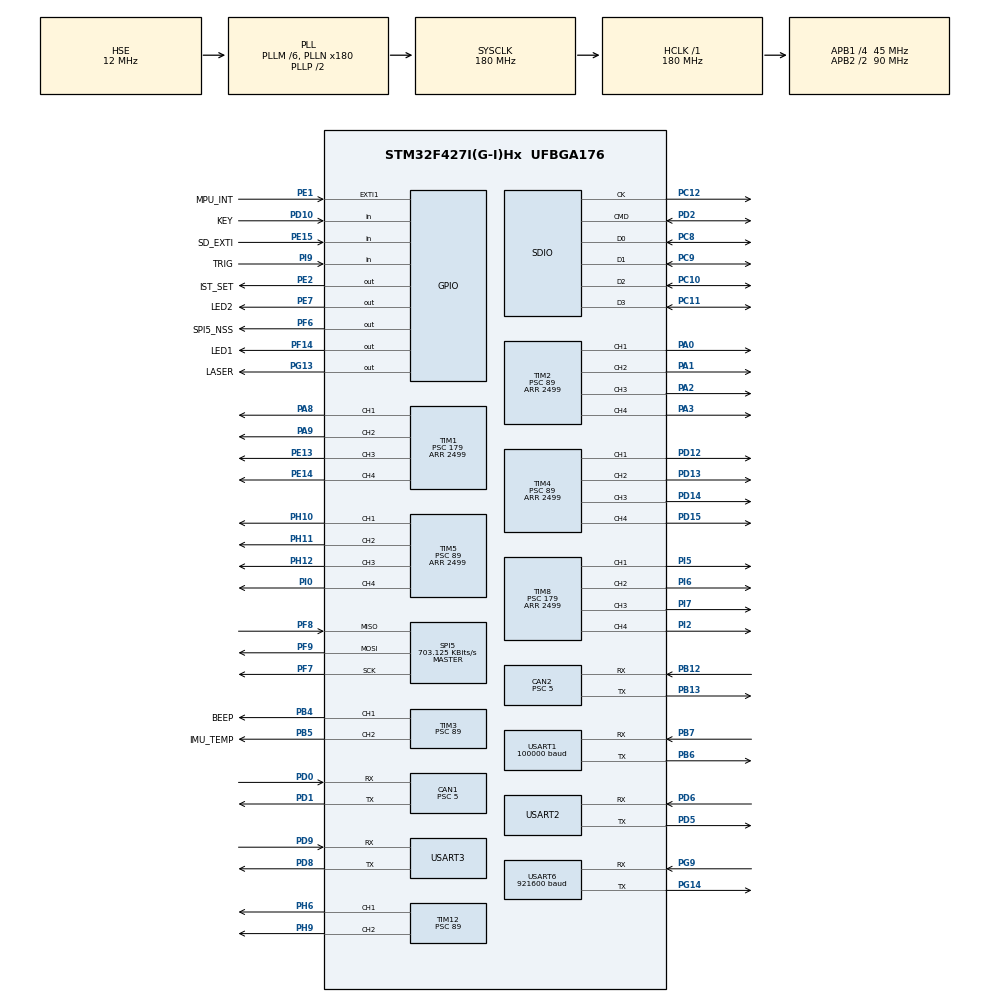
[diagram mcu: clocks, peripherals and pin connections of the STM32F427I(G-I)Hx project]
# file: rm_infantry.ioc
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CAN1.ABOM=ENABLE
CAN1.BS1=CAN_BS1_3TQ
CAN1.BS2=CAN_BS2_5TQ
CAN1.CalculateTimeBit=1000
CAN1.CalculateTimeQuantum=111.11111111111111
CAN1.Prescaler=5
CAN2.ABOM=ENABLE
CAN2.BS1=CAN_BS1_3TQ
CAN2.BS2=CAN_BS2_5TQ
CAN2.CalculateTimeBit=1000
CAN2.CalculateTimeQuantum=111.11111111111111
CAN2.Prescaler=5
CAN2.SJW=CAN_SJW_4TQ
Dma.Request0=SDIO_RX
Dma.Request1=SDIO_TX
Dma.Request2=USART1_RX
Dma.Request3=USART2_RX
Dma.Request4=USART3_RX
Dma.Request5=USART6_RX
Dma.Request6=USART2_TX
Dma.Request7=USART3_TX
Dma.Request8=USART6_TX
Dma.SDIO_RX.0.Direction=DMA_PERIPH_TO_MEMORY
Dma.SDIO_RX.0.FIFOMode=DMA_FIFOMODE_ENABLE
Dma.SDIO_RX.0.FIFOThreshold=DMA_FIFO_THRESHOLD_FULL
Dma.SDIO_RX.0.Instance=DMA2_Stream3
Dma.SDIO_RX.0.MemBurst=DMA_MBURST_INC4
Dma.SDIO_RX.0.MemDataAlignment=DMA_MDATAALIGN_WORD
Dma.SDIO_RX.0.MemInc=DMA_MINC_ENABLE
Dma.SDIO_RX.0.Mode=DMA_PFCTRL
Dma.SDIO_RX.0.PeriphBurst=DMA_PBURST_INC4
Dma.SDIO_RX.0.PeriphDataAlignment=DMA_PDATAALIGN_WORD
Dma.SDIO_RX.0.PeriphInc=DMA_PINC_DISABLE
Dma.SDIO_RX.0.Priority=DMA_PRIORITY_HIGH
Dma.SDIO_TX.1.Direction=DMA_MEMORY_TO_PERIPH
Dma.SDIO_TX.1.FIFOMode=DMA_FIFOMODE_ENABLE
Dma.SDIO_TX.1.FIFOThreshold=DMA_FIFO_THRESHOLD_FULL
Dma.SDIO_TX.1.Instance=DMA2_Stream6
Dma.SDIO_TX.1.MemBurst=DMA_MBURST_INC4
Dma.SDIO_TX.1.MemDataAlignment=DMA_MDATAALIGN_WORD
Dma.SDIO_TX.1.MemInc=DMA_MINC_ENABLE
Dma.SDIO_TX.1.Mode=DMA_PFCTRL
Dma.SDIO_TX.1.PeriphBurst=DMA_PBURST_INC4
Dma.SDIO_TX.1.PeriphDataAlignment=DMA_PDATAALIGN_WORD
Dma.SDIO_TX.1.PeriphInc=DMA_PINC_DISABLE
Dma.SDIO_TX.1.Priority=DMA_PRIORITY_HIGH
Dma.USART1_RX.2.Direction=DMA_PERIPH_TO_MEMORY
Dma.USART1_RX.2.FIFOMode=DMA_FIFOMODE_DISABLE
Dma.USART1_RX.2.Instance=DMA2_Stream2
Dma.USART1_RX.2.MemDataAlignment=DMA_MDATAALIGN_BYTE
Dma.USART1_RX.2.MemInc=DMA_MINC_ENABLE
Dma.USART1_RX.2.Mode=DMA_CIRCULAR
Dma.USART1_RX.2.PeriphDataAlignment=DMA_PDATAALIGN_BYTE
Dma.USART1_RX.2.PeriphInc=DMA_PINC_DISABLE
Dma.USART1_RX.2.Priority=DMA_PRIORITY_LOW
Dma.USART2_RX.3.Direction=DMA_PERIPH_TO_MEMORY
Dma.USART2_RX.3.FIFOMode=DMA_FIFOMODE_DISABLE
Dma.USART2_RX.3.Instance=DMA1_Stream5
Dma.USART2_RX.3.MemDataAlignment=DMA_MDATAALIGN_BYTE
Dma.USART2_RX.3.MemInc=DMA_MINC_ENABLE
Dma.USART2_RX.3.Mode=DMA_NORMAL
Dma.USART2_RX.3.PeriphDataAlignment=DMA_PDATAALIGN_BYTE
Dma.USART2_RX.3.PeriphInc=DMA_PINC_DISABLE
Dma.USART2_RX.3.Priority=DMA_PRIORITY_LOW
Dma.USART2_TX.6.Direction=DMA_MEMORY_TO_PERIPH
Dma.USART2_TX.6.FIFOMode=DMA_FIFOMODE_DISABLE
Dma.USART2_TX.6.Instance=DMA1_Stream6
Dma.USART2_TX.6.MemDataAlignment=DMA_MDATAALIGN_BYTE
Dma.USART2_TX.6.MemInc=DMA_MINC_ENABLE
Dma.USART2_TX.6.Mode=DMA_NORMAL
Dma.USART2_TX.6.PeriphDataAlignment=DMA_PDATAALIGN_BYTE
Dma.USART2_TX.6.PeriphInc=DMA_PINC_DISABLE
Dma.USART2_TX.6.Priority=DMA_PRIORITY_LOW
Dma.USART3_RX.4.Direction=DMA_PERIPH_TO_MEMORY
Dma.USART3_RX.4.FIFOMode=DMA_FIFOMODE_DISABLE
Dma.USART3_RX.4.Instance=DMA1_Stream1
Dma.USART3_RX.4.MemDataAlignment=DMA_MDATAALIGN_BYTE
Dma.USART3_RX.4.MemInc=DMA_MINC_ENABLE
Dma.USART3_RX.4.Mode=DMA_NORMAL
Dma.USART3_RX.4.PeriphDataAlignment=DMA_PDATAALIGN_BYTE
Dma.USART3_RX.4.PeriphInc=DMA_PINC_DISABLE
Dma.USART3_RX.4.Priority=DMA_PRIORITY_LOW
Dma.USART3_TX.7.Direction=DMA_MEMORY_TO_PERIPH
Dma.USART3_TX.7.FIFOMode=DMA_FIFOMODE_DISABLE
Dma.USART3_TX.7.Instance=DMA1_Stream3
Dma.USART3_TX.7.MemDataAlignment=DMA_MDATAALIGN_BYTE
Dma.USART3_TX.7.MemInc=DMA_MINC_ENABLE
Dma.USART3_TX.7.Mode=DMA_NORMAL
Dma.USART3_TX.7.PeriphDataAlignment=DMA_PDATAALIGN_BYTE
Dma.USART3_TX.7.PeriphInc=DMA_PINC_DISABLE
Dma.USART3_TX.7.Priority=DMA_PRIORITY_LOW
Dma.USART6_RX.5.Direction=DMA_PERIPH_TO_MEMORY
Dma.USART6_RX.5.FIFOMode=DMA_FIFOMODE_DISABLE
Dma.USART6_RX.5.Instance=DMA2_Stream1
Dma.USART6_RX.5.MemDataAlignment=DMA_MDATAALIGN_BYTE
Dma.USART6_RX.5.MemInc=DMA_MINC_ENABLE
Dma.USART6_RX.5.Mode=DMA_NORMAL
Dma.USART6_RX.5.PeriphDataAlignment=DMA_PDATAALIGN_BYTE
Dma.USART6_RX.5.PeriphInc=DMA_PINC_DISABLE
Dma.USART6_RX.5.Priority=DMA_PRIORITY_LOW
Dma.USART6_TX.8.Direction=DMA_MEMORY_TO_PERIPH
Dma.USART6_TX.8.FIFOMode=DMA_FIFOMODE_DISABLE
Dma.USART6_TX.8.Instance=DMA2_Stream7
Dma.USART6_TX.8.MemDataAlignment=DMA_MDATAALIGN_BYTE
Dma.USART6_TX.8.MemInc=DMA_MINC_ENABLE
Dma.USART6_TX.8.Mode=DMA_NORMAL
Dma.USART6_TX.8.PeriphDataAlignment=DMA_PDATAALIGN_BYTE
Dma.USART6_TX.8.PeriphInc=DMA_PINC_DISABLE
Dma.USART6_TX.8.Priority=DMA_PRIORITY_LOW
FATFS._CODE_PAGE=936
FATFS._USE_LFN=2
FREERTOS.INCLUDE_uxTaskGetStackHighWaterMark=1
FREERTOS.INCLUDE_vTaskDelayUntil=1
FREERTOS.Tasks01=defaultTask,0,128,StartDefaultTask,Default,NULL
FREERTOS.configCHECK_FOR_STACK_OVERFLOW=1
FREERTOS.configTIMER_TASK_STACK_DEPTH=128
FREERTOS.configUSE_TIMERS=1
FREERTOS.configUSE_TRACE_FACILITY=1
Mcu.Family=STM32F4
Mcu.Name=STM32F427I(G-I)Hx
Mcu.Package=UFBGA176
NVIC.CAN1_RX0_IRQn=true\:5\:0\:false\:false\:true\:true\:true
NVIC.CAN1_TX_IRQn=true\:5\:0\:false\:false\:true\:true\:true
NVIC.CAN2_RX0_IRQn=true\:6\:0\:true\:false\:true\:true\:true
NVIC.CAN2_TX_IRQn=true\:6\:0\:true\:false\:true\:true\:true
NVIC.DMA1_Stream1_IRQn=true\:5\:0\:false\:false\:true\:true\:false
NVIC.DMA1_Stream3_IRQn=true\:5\:0\:false\:false\:true\:true\:false
NVIC.DMA1_Stream5_IRQn=true\:5\:0\:false\:false\:true\:true\:false
NVIC.DMA1_Stream6_IRQn=true\:5\:0\:false\:false\:true\:true\:false
NVIC.DMA2_Stream1_IRQn=true\:5\:0\:false\:false\:true\:true\:false
NVIC.DMA2_Stream2_IRQn=true\:5\:0\:false\:false\:true\:true\:false
NVIC.DMA2_Stream3_IRQn=true\:6\:0\:true\:false\:true\:true\:false
NVIC.DMA2_Stream6_IRQn=true\:6\:0\:true\:false\:true\:true\:false
NVIC.DMA2_Stream7_IRQn=true\:5\:0\:false\:false\:true\:true\:false
NVIC.PriorityGroup=NVIC_PRIORITYGROUP_4
NVIC.SDIO_IRQn=true\:5\:0\:false\:false\:true\:true\:true
NVIC.TIM6_DAC_IRQn=true\:0\:0\:false\:false\:true\:false\:false
NVIC.TimeBase=TIM6_DAC_IRQn
NVIC.TimeBaseIP=TIM6
NVIC.USART1_IRQn=true\:5\:0\:false\:false\:true\:true\:true
NVIC.USART2_IRQn=true\:5\:0\:true\:false\:true\:true\:true
NVIC.USART3_IRQn=true\:5\:0\:false\:false\:true\:true\:true
NVIC.USART6_IRQn=true\:5\:0\:false\:false\:true\:true\:true
PA0/WKUP.Signal=S_TIM2_CH1_ETR
PA1.Signal=S_TIM2_CH2
PA13.Mode=Serial_Wire
PA13.Signal=SYS_JTMS-SWDIO
PA14.Mode=Serial_Wire
PA14.Signal=SYS_JTCK-SWCLK
PA2.Signal=S_TIM2_CH3
PA3.Signal=S_TIM2_CH4
PA8.Signal=S_TIM1_CH1
PA9.Signal=S_TIM1_CH2
PB12.Mode=Slave
PB12.Signal=CAN2_RX
PB13.Mode=Slave
PB13.Signal=CAN2_TX
PB4.GPIO_Label=BEEP
PB4.Signal=S_TIM3_CH1
PB5.GPIO_Label=IMU_TEMP
PB5.Signal=S_TIM3_CH2
PB6.Mode=Asynchronous
PB6.Signal=USART1_TX
PB7.Mode=Asynchronous
PB7.Signal=USART1_RX
PC10.Mode=SD_4_bits_Wide_bus
PC10.Signal=SDIO_D2
PC11.Mode=SD_4_bits_Wide_bus
PC11.Signal=SDIO_D3
PC12.Mode=SD_4_bits_Wide_bus
PC12.Signal=SDIO_CK
PC8.Mode=SD_4_bits_Wide_bus
PC8.Signal=SDIO_D0
PC9.Mode=SD_4_bits_Wide_bus
PC9.Signal=SDIO_D1
PD0.Mode=Master
PD0.Signal=CAN1_RX
PD1.Mode=Master
PD1.Signal=CAN1_TX
PD10.GPIO_Label=KEY
PD10.Signal=GPIO_Input
PD12.Signal=S_TIM4_CH1
PD13.Signal=S_TIM4_CH2
PD14.Signal=S_TIM4_CH3
PD15.Signal=S_TIM4_CH4
PD2.Mode=SD_4_bits_Wide_bus
PD2.Signal=SDIO_CMD
PD5.Mode=Asynchronous
PD5.Signal=USART2_TX
PD6.Mode=Asynchronous
PD6.Signal=USART2_RX
PD8.Mode=Asynchronous
PD8.Signal=USART3_TX
PD9.Mode=Asynchronous
PD9.Signal=USART3_RX
PE1.GPIO_Label=MPU_INT
PE1.Signal=GPXTI1
PE13.Signal=S_TIM1_CH3
PE14.Signal=S_TIM1_CH4
PE15.GPIO_Label=SD_EXTI
PE15.Signal=GPIO_Input
PE2.GPIO_Label=IST_SET
PE2.Signal=GPIO_Output
PE7.GPIO_Label=LED2
PE7.Signal=GPIO_Output
PF14.GPIO_Label=LED1
PF14.Signal=GPIO_Output
PF6.GPIO_Label=SPI5_NSS
PF6.Signal=GPIO_Output
PF7.Mode=Full_Duplex_Master
PF7.Signal=SPI5_SCK
PF8.Mode=Full_Duplex_Master
PF8.Signal=SPI5_MISO
PF9.Mode=Full_Duplex_Master
PF9.Signal=SPI5_MOSI
PG13.GPIO_Label=LASER
PG13.Signal=GPIO_Output
PG14.Mode=Asynchronous
PG14.Signal=USART6_TX
PG9.Mode=Asynchronous
PG9.Signal=USART6_RX
PH0/OSC_IN.Mode=HSE-External-Oscillator
PH0/OSC_IN.Signal=RCC_OSC_IN
PH1/OSC_OUT.Mode=HSE-External-Oscillator
PH1/OSC_OUT.Signal=RCC_OSC_OUT
PH10.Signal=S_TIM5_CH1
PH11.Signal=S_TIM5_CH2
PH12.Signal=S_TIM5_CH3
PH6.Signal=S_TIM12_CH1
PH9.Signal=S_TIM12_CH2
PI0.Signal=S_TIM5_CH4
PI2.Signal=S_TIM8_CH4
PI5.Signal=S_TIM8_CH1
PI6.Signal=S_TIM8_CH2
PI7.Signal=S_TIM8_CH3
PI9.GPIO_Label=TRIG
PI9.GPIO_PuPd=GPIO_PULLUP
PI9.Signal=GPIO_Input
ProjectManager.HeapSize=0x500
ProjectManager.StackSize=0x1000
ProjectManager.TargetToolchain=MDK-ARM V5
RCC.48MHZClocksFreq_Value=45000000
RCC.AHBFreq_Value=180000000
RCC.APB1CLKDivider=RCC_HCLK_DIV4
RCC.APB1Freq_Value=45000000
RCC.APB1TimFreq_Value=90000000
RCC.APB2CLKDivider=RCC_HCLK_DIV2
RCC.APB2Freq_Value=90000000
RCC.APB2TimFreq_Value=180000000
RCC.CortexFreq_Value=180000000
RCC.HCLKFreq_Value=180000000
RCC.HSE_VALUE=12000000
RCC.HSI_VALUE=16000000
RCC.LSE_VALUE=32768
RCC.PLLM=6
RCC.PLLN=180
RCC.PLLQ=8
RCC.PLLSourceVirtual=RCC_PLLSOURCE_HSE
RCC.SYSCLKFreq_VALUE=180000000
RCC.SYSCLKSource=RCC_SYSCLKSOURCE_PLLCLK
RCC.VCOOutputFreq_Value=360000000
RTC.AsynchPrediv=124
RTC.Date=18
RTC.Format=RTC_FORMAT_BIN
RTC.Hours=10
RTC.Minutes=30
RTC.Month=RTC_MONTH_OCTOBER
RTC.WeekDay=RTC_WEEKDAY_WEDNESDAY
RTC.Year=17
SH.S_TIM12_CH1.0=TIM12_CH1,PWM Generation1 CH1
SH.S_TIM12_CH2.0=TIM12_CH2,PWM Generation2 CH2
SH.S_TIM1_CH1.0=TIM1_CH1,PWM Generation1 CH1
SH.S_TIM1_CH2.0=TIM1_CH2,PWM Generation2 CH2
SH.S_TIM1_CH3.0=TIM1_CH3,PWM Generation3 CH3
SH.S_TIM1_CH4.0=TIM1_CH4,PWM Generation4 CH4
SH.S_TIM2_CH1_ETR.0=TIM2_CH1,PWM Generation1 CH1
SH.S_TIM2_CH2.0=TIM2_CH2,PWM Generation2 CH2
SH.S_TIM2_CH3.0=TIM2_CH3,PWM Generation3 CH3
SH.S_TIM2_CH4.0=TIM2_CH4,PWM Generation4 CH4
SH.S_TIM3_CH1.0=TIM3_CH1,PWM Generation1 CH1
SH.S_TIM3_CH2.0=TIM3_CH2,PWM Generation2 CH2
SH.S_TIM4_CH1.0=TIM4_CH1,PWM Generation1 CH1
SH.S_TIM4_CH2.0=TIM4_CH2,PWM Generation2 CH2
SH.S_TIM4_CH3.0=TIM4_CH3,PWM Generation3 CH3
SH.S_TIM4_CH4.0=TIM4_CH4,PWM Generation4 CH4
SH.S_TIM5_CH1.0=TIM5_CH1,PWM Generation1 CH1
SH.S_TIM5_CH2.0=TIM5_CH2,PWM Generation2 CH2
SH.S_TIM5_CH3.0=TIM5_CH3,PWM Generation3 CH3
SH.S_TIM5_CH4.0=TIM5_CH4,PWM Generation4 CH4
SH.S_TIM8_CH1.0=TIM8_CH1,PWM Generation1 CH1
SH.S_TIM8_CH2.0=TIM8_CH2,PWM Generation2 CH2
SH.S_TIM8_CH3.0=TIM8_CH3,PWM Generation3 CH3
SH.S_TIM8_CH4.0=TIM8_CH4,PWM Generation4 CH4
SPI5.BaudRatePrescaler=SPI_BAUDRATEPRESCALER_128
SPI5.CalculateBaudRate=703.125 KBits/s
SPI5.Direction=SPI_DIRECTION_2LINES
SPI5.Mode=SPI_MODE_MASTER
SPI5.VirtualType=VM_MASTER
TIM1.Channel-PWM\ Generation1\ CH1=TIM_CHANNEL_1
TIM1.Channel-PWM\ Generation2\ CH2=TIM_CHANNEL_2
TIM1.Channel-PWM\ Generation3\ CH3=TIM_CHANNEL_3
TIM1.Channel-PWM\ Generation4\ CH4=TIM_CHANNEL_4
TIM1.Period=2499
TIM1.Prescaler=179
TIM1.Pulse-PWM\ Generation1\ CH1=1000
TIM1.Pulse-PWM\ Generation2\ CH2=1000
TIM1.Pulse-PWM\ Generation3\ CH3=1000
TIM1.Pulse-PWM\ Generation4\ CH4=1000
TIM12.Channel-PWM\ Generation1\ CH1=TIM_CHANNEL_1
TIM12.Channel-PWM\ Generation2\ CH2=TIM_CHANNEL_2
TIM12.Period=2499
TIM12.Prescaler=89
TIM12.Pulse-PWM\ Generation1\ CH1=1000
TIM12.Pulse-PWM\ Generation2\ CH2=1000
TIM2.Channel-PWM\ Generation1\ CH1=TIM_CHANNEL_1
TIM2.Channel-PWM\ Generation2\ CH2=TIM_CHANNEL_2
TIM2.Channel-PWM\ Generation3\ CH3=TIM_CHANNEL_3
TIM2.Channel-PWM\ Generation4\ CH4=TIM_CHANNEL_4
TIM2.Period=2499
TIM2.Prescaler=89
TIM2.Pulse-PWM\ Generation1\ CH1=1000
TIM2.Pulse-PWM\ Generation2\ CH2=1000
TIM2.Pulse-PWM\ Generation3\ CH3=1000
TIM2.Pulse-PWM\ Generation4\ CH4=1000
TIM3.Channel-PWM\ Generation1\ CH1=TIM_CHANNEL_1
TIM3.Channel-PWM\ Generation2\ CH2=TIM_CHANNEL_2
TIM3.Prescaler=89
TIM4.Channel-PWM\ Generation1\ CH1=TIM_CHANNEL_1
TIM4.Channel-PWM\ Generation2\ CH2=TIM_CHANNEL_2
TIM4.Channel-PWM\ Generation3\ CH3=TIM_CHANNEL_3
TIM4.Channel-PWM\ Generation4\ CH4=TIM_CHANNEL_4
TIM4.Period=2499
TIM4.Prescaler=89
TIM4.Pulse-PWM\ Generation1\ CH1=1000
TIM4.Pulse-PWM\ Generation2\ CH2=1000
TIM4.Pulse-PWM\ Generation3\ CH3=1000
TIM4.Pulse-PWM\ Generation4\ CH4=1000
TIM5.Channel-PWM\ Generation1\ CH1=TIM_CHANNEL_1
TIM5.Channel-PWM\ Generation2\ CH2=TIM_CHANNEL_2
TIM5.Channel-PWM\ Generation3\ CH3=TIM_CHANNEL_3
TIM5.Channel-PWM\ Generation4\ CH4=TIM_CHANNEL_4
TIM5.Period=2499
TIM5.Prescaler=89
TIM5.Pulse-PWM\ Generation1\ CH1=1000
TIM5.Pulse-PWM\ Generation2\ CH2=1000
TIM5.Pulse-PWM\ Generation3\ CH3=1000
TIM5.Pulse-PWM\ Generation4\ CH4=1000
TIM8.Channel-PWM\ Generation1\ CH1=TIM_CHANNEL_1
TIM8.Channel-PWM\ Generation2\ CH2=TIM_CHANNEL_2
TIM8.Channel-PWM\ Generation3\ CH3=TIM_CHANNEL_3
TIM8.Channel-PWM\ Generation4\ CH4=TIM_CHANNEL_4
TIM8.Period=2499
TIM8.Prescaler=179
TIM8.Pulse-PWM\ Generation1\ CH1=1000
TIM8.Pulse-PWM\ Generation2\ CH2=1000
TIM8.Pulse-PWM\ Generation3\ CH3=1000
TIM8.Pulse-PWM\ Generation4\ CH4=1000
USART1.BaudRate=100000
USART1.Parity=PARITY_EVEN
USART1.VirtualMode=VM_ASYNC
USART2.VirtualMode=VM_ASYNC
USART3.VirtualMode=VM_ASYNC
USART6.BaudRate=921600
USART6.VirtualMode=VM_ASYNC
VP_FATFS_VS_SDIO.Mode=SDIO
VP_FREERTOS_VS_ENABLE.Mode=Enabled
VP_RTC_VS_RTC_Activate.Mode=RTC_Enabled
VP_RTC_VS_RTC_Calendar.Mode=RTC_Calendar
VP_RTC_VS_RTC_WakeUp_intern.Mode=WakeUp
VP_SYS_VS_tim6.Mode=TIM6
board=rm_infantry

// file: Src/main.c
/**
  ******************************************************************************
  * File Name          : main.c
  * Description        : Main program body
  ******************************************************************************
  * This notice applies to any and all portions of this file
  * that are not between comment pairs USER CODE BEGIN and
  * USER CODE END. Other portions of this file, whether
  * inserted by the user or by software development tools
  * are owned by their respective copyright owners.
  *
  * Copyright (c) 2018 STMicroelectronics International N.V.
  * All rights reserved.
  *
  * Redistribution and use in source and binary forms, with or without
  * modification, are permitted, provided that the following conditions are met:
  *
  * 1. Redistribution of source code must retain the above copyright notice,
  *    this list of conditions and the following disclaimer.
  * 2. Redistributions in binary form must reproduce the above copyright notice,
  *    this list of conditions and the following disclaimer in the documentation
  *    and/or other materials provided with the distribution.
  * 3. Neither the name of STMicroelectronics nor the names of other
  *    contributors to this software may be used to endorse or promote products
  *    derived from this software without specific written permission.
  * 4. This software, including modifications and/or derivative works of this
  *    software, must execute solely and exclusively on microcontroller or
  *    microprocessor devices manufactured by or for STMicroelectronics.
  * 5. Redistribution and use of this software other than as permitted under
  *    this license is void and will automatically terminate your rights under
  *    this license.
  *
  * THIS SOFTWARE IS PROVIDED BY STMICROELECTRONICS AND CONTRIBUTORS "AS IS"
  * AND ANY EXPRESS, IMPLIED OR STATUTORY WARRANTIES, INCLUDING, BUT NOT
  * LIMITED TO, THE IMPLIED WARRANTIES OF MERCHANTABILITY, FITNESS FOR A
  * PARTICULAR PURPOSE AND NON-INFRINGEMENT OF THIRD PARTY INTELLECTUAL PROPERTY
  * RIGHTS ARE DISCLAIMED TO THE FULLEST EXTENT PERMITTED BY LAW. IN NO EVENT
  * SHALL STMICROELECTRONICS OR CONTRIBUTORS BE LIABLE FOR ANY DIRECT, INDIRECT,
  * INCIDENTAL, SPECIAL, EXEMPLARY, OR CONSEQUENTIAL DAMAGES (INCLUDING, BUT NOT
  * LIMITED TO, PROCUREMENT OF SUBSTITUTE GOODS OR SERVICES; LOSS OF USE, DATA,
  * OR PROFITS; OR BUSINESS INTERRUPTION) HOWEVER CAUSED AND ON ANY THEORY OF
  * LIABILITY, WHETHER IN CONTRACT, STRICT LIABILITY, OR TORT (INCLUDING
  * NEGLIGENCE OR OTHERWISE) ARISING IN ANY WAY OUT OF THE USE OF THIS SOFTWARE,
  * EVEN IF ADVISED OF THE POSSIBILITY OF SUCH DAMAGE.
  *
  ******************************************************************************
  */
#include "main.h"
#include "stm32f4xx_hal.h"
#include "cmsis_os.h"
#include "can.h"
#include "dma.h"
#include "fatfs.h"
#include "rtc.h"
#include "sdio.h"
#include "spi.h"
#include "tim.h"
#include "usart.h"
#include "gpio.h"

/* USER CODE BEGIN Includes */
#include "bsp_can.h"
#include "bsp_uart.h"
#include "calibrate.h"
#include "comm_task.h"
#include "gimbal_task.h"
#include "shoot_task.h"
#include "chassis_task.h"
#include "detect_task.h"
#include "imu_task.h"
#include "bsp_imu.h"
#include "bsp_io.h"
#include "led.h"
/* USER CODE END Includes */

/* USER CODE BEGIN PV */
/* Private variables ---------------------------------------------------------*/

/* USER CODE END PV */

void SystemClock_Config(void);
void MX_FREERTOS_Init(void);

/* USER CODE BEGIN PFP */
/* Private function prototypes -----------------------------------------------*/

/* USER CODE END PFP */

int main(void)
{

  /* MCU Configuration----------------------------------------------------------*/

  /* Reset of all peripherals, Initializes the Flash interface and the Systick. */
  HAL_Init();

  /* Configure the system clock */
  SystemClock_Config();

  /* Initialize all configured peripherals */
  MX_GPIO_Init();
  MX_DMA_Init();
  MX_SDIO_SD_Init();
  MX_CAN1_Init();
  MX_RTC_Init();
  MX_SPI5_Init();
  MX_TIM2_Init();
  MX_TIM3_Init();
  MX_CAN2_Init();
  MX_TIM4_Init();
  MX_TIM5_Init();
  MX_TIM8_Init();
  MX_TIM12_Init();
  MX_USART1_UART_Init();
  MX_USART2_UART_Init();
  MX_USART3_UART_Init();
  MX_USART6_UART_Init();
  MX_TIM1_Init();

  /* USER CODE BEGIN 2 */
  //software parameter initialize
  gimbal_param_init();
  shoot_param_init();
  chassis_param_init();
  detector_param_init();
  communicate_param_init();
  imu_param_init();
  cali_param_init();
  //hardware device initialize
  pwm_device_init();
  mpu_device_init();
  can_device_init();
  //if do not use single gyroscope module in chassis, need to close gyro_device_init()

//	gyro_device_init();

  //open can receive it
  can_receive_start();
  //open dbus uart receive it
  dbus_uart_init();

  /* USER CODE END 2 */

  /* Call init function for freertos objects (in freertos.c) */
  MX_FREERTOS_Init();

  /* Start scheduler */
  osKernelStart();

  /* We should never get here as control is now taken by the scheduler */

  /* Infinite loop */
  while (1)
  {

  }

}

/** System Clock Configuration
*/
void SystemClock_Config(void)
{

  RCC_OscInitTypeDef RCC_OscInitStruct;
  RCC_ClkInitTypeDef RCC_ClkInitStruct;
  RCC_PeriphCLKInitTypeDef PeriphClkInitStruct;

    /**Configure the main internal regulator output voltage
    */
  __HAL_RCC_PWR_CLK_ENABLE();

  __HAL_PWR_VOLTAGESCALING_CONFIG(PWR_REGULATOR_VOLTAGE_SCALE1);

    /**Initializes the CPU, AHB and APB busses clocks
    */
  RCC_OscInitStruct.OscillatorType = RCC_OSCILLATORTYPE_LSI|RCC_OSCILLATORTYPE_HSE;
  RCC_OscInitStruct.HSEState = RCC_HSE_ON;
  RCC_OscInitStruct.LSIState = RCC_LSI_ON;
  RCC_OscInitStruct.PLL.PLLState = RCC_PLL_ON;
  RCC_OscInitStruct.PLL.PLLSource = RCC_PLLSOURCE_HSE;
  RCC_OscInitStruct.PLL.PLLM = 6;
  RCC_OscInitStruct.PLL.PLLN = 180;
  RCC_OscInitStruct.PLL.PLLP = RCC_PLLP_DIV2;
  RCC_OscInitStruct.PLL.PLLQ = 8;
  if (HAL_RCC_OscConfig(&RCC_OscInitStruct) != HAL_OK)
  {
    _Error_Handler(__FILE__, __LINE__);
  }

    /**Activate the Over-Drive mode
    */
  if (HAL_PWREx_EnableOverDrive() != HAL_OK)
  {
    _Error_Handler(__FILE__, __LINE__);
  }

    /**Initializes the CPU, AHB and APB busses clocks
    */
  RCC_ClkInitStruct.ClockType = RCC_CLOCKTYPE_HCLK|RCC_CLOCKTYPE_SYSCLK
                              |RCC_CLOCKTYPE_PCLK1|RCC_CLOCKTYPE_PCLK2;
  RCC_ClkInitStruct.SYSCLKSource = RCC_SYSCLKSOURCE_PLLCLK;
  RCC_ClkInitStruct.AHBCLKDivider = RCC_SYSCLK_DIV1;
  RCC_ClkInitStruct.APB1CLKDivider = RCC_HCLK_DIV4;
  RCC_ClkInitStruct.APB2CLKDivider = RCC_HCLK_DIV2;

  if (HAL_RCC_ClockConfig(&RCC_ClkInitStruct, FLASH_LATENCY_5) != HAL_OK)
  {
    _Error_Handler(__FILE__, __LINE__);
  }

  PeriphClkInitStruct.PeriphClockSelection = RCC_PERIPHCLK_RTC;
  PeriphClkInitStruct.RTCClockSelection = RCC_RTCCLKSOURCE_LSI;
  if (HAL_RCCEx_PeriphCLKConfig(&PeriphClkInitStruct) != HAL_OK)
  {
    _Error_Handler(__FILE__, __LINE__);
  }

    /**Configure the Systick interrupt time
    */
  HAL_SYSTICK_Config(HAL_RCC_GetHCLKFreq()/1000);

    /**Configure the Systick
    */
  HAL_SYSTICK_CLKSourceConfig(SYSTICK_CLKSOURCE_HCLK);

  /* SysTick_IRQn interrupt configuration */
  HAL_NVIC_SetPriority(SysTick_IRQn, 15, 0);
}

void HAL_TIM_PeriodElapsedCallback(TIM_HandleTypeDef *htim)
{
  if (htim->Instance == TIM6) {
    HAL_IncTick();
  }
}

void _Error_Handler(char * file, int line)
{
  while(1)
  {
  }
}

/************************ (C) COPYRIGHT STMicroelectronics *****END OF FILE****/
